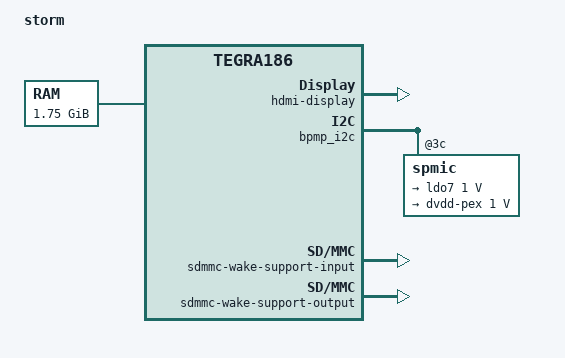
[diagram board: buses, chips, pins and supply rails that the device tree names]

#include <t18x-common-platforms/tegra186-quill-common-p3489-1000-a00.dtsi>
//#include <t18x-common-platforms/tegra186-quill-power-tree-p3489-1000-a00-00.dtsi>
#include <t18x-common-platforms/tegra186-tx2i-cti-power-tree.dtsi>
//#include <t18x-common-platforms/tegra186-quill-camera-modules.dtsi>
#include <t18x-common-modules/tegra186-display-e3320-1000-a00.dtsi>

/* comms dtsi file should be included after gpio dtsi file */
//#include <t18x-common-plugin-manager/tegra186-quill-p3489-1000-a00-plugin-manager.dtsi>
#include <t18x-common-plugin-manager/tegra186-tx2i-cti-plugin-manager.dtsi>
//#include <t18x-common-modules/tegra186-super-module-e2614-p2597-1000-a00.dtsi>
#include <t18x-common-plugin-manager/tegra186-quill-display-plugin-manager.dtsi>
#include <t18x-common-prod/tegra186-priv-quill-p3489-1000-a00-prod.dtsi>
//#include <t18x-common-plugin-manager/tegra186-quill-camera-plugin-manager.dtsi>
#include "cti_common/tegra186-tx2-cti-usb-pcie-base.dtsi"

/ {
	model = "storm";
	compatible = "nvidia,storm", "nvidia,p2597-0000+p3489-0000", "nvidia,tegra186";
	use_case_model = "ucm1";
    nvidia,dtsfilename = __FILE__;
    nvidia,dtbbuildtime = __DATE__, __TIME__;

	nvidia,boardids = "3489:0000:A0";
	nvidia,proc-boardid = "3489:0000:A0";
	nvidia,fastboot-usb-vid = <0x0955>;
	nvidia,fastboot-usb-pid = <0xee16>;

	chosen {
		board-has-eeprom;
		bootargs ="console=ttyS0,115200 androidboot.presilicon=true firmware_class.path=/etc/firmware";
		stdout-path = &uarta;
		nvidia,tegra-joint_xpu_rail;
	};

	firmware {
		android {
			compatible = "android,firmware";
			hardware = "quill";
		};
	};

	memory@80000000 {
		device_type = "memory";
		reg = <0x0 0x80000000 0x0 0x70000000>;
	};
	
    i2c@3160000 {
        gpio@74{
            status = "disabled";
            /delete-node/ touch-rails;
        };

        gpio@77{
            status = "disabled";
            /delete-node/ lcd-bias-rails;
        };

		lp8557-backlight-s-wuxga-8-0@2c {
			status = "disabled";
		};
	};

	i2c@c240000 {
		clock-frequency = <400000>;
	};

	cpus {
		status = "disabled";
	};

   pwm_fan_shared_data: pfsd
   {
        tach_gpio = <&tegra_main_gpio TEGRA_MAIN_GPIO(X, 4) GPIO_ACTIVE_LOW>;
   };

	host1x {
		disp_imp_table {
			num_settings = <7>;

			disp_imp_settings_6 {
				/* Calculated with 4 wins on one 1080p head */

				/* Global settings */
				nvidia,total_disp_bw_with_catchup = <0 2787800>;
				nvidia,total_disp_bw_without_catchup = <0 2534400>;
				nvidia,disp_emc_floor = <0 102000000>;
				nvidia,disp_min_hubclk = <0 49070000>;
				nvidia,total_win_fetch_slots = /bits/ 16 <1>;
				nvidia,total_cursor_fetch_slots = /bits/ 16 <1>;

				/* Window settings */
				nvidia,imp_win_mapping = /bits/ 8 <0 1 2 3 4 5>;
				nvidia,win_fetch_meter_slots = /bits/ 16 <1 1 1 1 1 1>;
				nvidia,win_dvfs_watermark_values = <0 0 0 0 0 0 0 0 0 0 0 0>;
				nvidia,win_pipe_meter_values = <0 0 0 0 0 0>;
				nvidia,win_mempool_buffer_entries = <0 817 0 817 0 817 0 817 0 817 0 817>;
				nvidia,win_thread_groups = /bits/ 8 <0 1 2 3 4 5>;

				/* Cursor settings */
				nvidia,imp_head_mapping = /bits/ 8 <0 1 2>;
				nvidia,cursor_fetch_meter_slots = /bits/ 16 <1 1 1>;
				nvidia,cursor_dvfs_watermark_values = <0 0 0 0 0 0>;
				nvidia,cursor_pipe_meter_values = <0 0 0>;
				nvidia,cursor_mempool_buffer_entries = <0 16 0 16 0 16>;
			};
		};

		sor {
			status = "disabled";
			dp-display {
				status = "disabled";
			};
			hdmi-display {
				status = "disabled";
			};

			panel-s-edp-uhdtv-15-6 {
				smartdimmer {
					status = "disabled";
				};
			};
		};

		dpaux@155c0000 {
			status = "disabled";
		};

		sor1 {
			status = "okay";
			hdmi-display {
				status = "okay";
			};
			dp-display {
				status = "disabled";
			};
		};

		nvdisplay@15200000 {
			status = "disabled";
		};

		nvdisplay@15220000 {
			status = "disabled";
		};
	};

        mttcan@c310000 {
                status = "disabled";
                gpio_can_stb = <&tegra_aon_gpio TEGRA_AON_GPIO(AA, 0) GPIO_ACTIVE_HIGH>;
                gpio_can_en = <&tegra_aon_gpio TEGRA_AON_GPIO(AA, 1) GPIO_ACTIVE_HIGH>;
        };

        mttcan@c320000 {
                status = "disabled";
                gpio_can_stb = <&tegra_aon_gpio TEGRA_AON_GPIO(AA, 6) GPIO_ACTIVE_HIGH>;
                gpio_can_en = <&tegra_aon_gpio TEGRA_AON_GPIO(AA, 7) GPIO_ACTIVE_HIGH>;
        };

        mc {
               ecc_on_camera_fw;
        };

	rtcpu@b000000 {
		/delete-property/ autosuspend-delay-ms;
		nvidia,disable-runtime-pm;
	};
	bpmp_i2c {
		spmic@3c {
			regulators {
				ldo0 {
					maxim,active-fps-source = <MAX77620_FPS_SRC_NONE>;
				};
				ldo6 {
					maxim,active-fps-source = <MAX77620_FPS_SRC_NONE>;
					regulator-boot-on;
					regulator-always-on;
				};
				ldo7 {
					regulator-min-microvolt = <1000000>;
					regulator-max-microvolt = <1000000>;
				};
				ldo8 {
					regulator-name = "dvdd-pex";
					regulator-min-microvolt = <1000000>;
					regulator-max-microvolt = <1000000>;
				};
			};
			pinmux@0 {
				pin_gpio2 {
					status = "disabled";
				};
				pin_gpio3 {
					status = "disabled";
				};
				pin_gpio7 {
					drive-push-pull = <1>;
				};
			};
		};
	};
	
    ahci-sata@3507000 {
		gpios = <&spmic 7 0>;
	};

	gpio@2200000 {
		sdmmc-wake-support-input {
		        status = "okay";
		};
		sdmmc-wake-support-output {
		        status = "okay";
		};
	};

	fixed-regulators {
		regulator@1 {
			gpio = <&tegra_main_gpio TEGRA_MAIN_GPIO(P, 6) 0>;
		};
        regulator@2 {
            regulator-always-on;
            /delete-property/ gpio;
            /delete-property/ enable-active-high;
        };
        regulator@3 {
            regulator-always-on;
            /delete-property/ gpio;
        };
        regulator@6 {
            regulator-always-on;
            /delete-property/ gpio;
        };
        regulator@7 {
            regulator-always-on;
            /delete-property/ gpio;
        };
        regulator@8 {
            regulator-always-on;
            /delete-property/ gpio;
        };
        regulator@9 {
            regulator-always-on;
            /delete-property/ gpio;
        };
        regulator@10 {
            regulator-always-on;
            /delete-property/ gpio;
        };
        regulator@11 {
            regulator-always-on;
            /delete-property/ gpio;
        };
        regulator@12 {
            regulator-always-on;
            /delete-property/ gpio;
        };
        regulator@13 { //fixes PWM fan
            regulator-always-on;
            /delete-property/ gpio;
        };
        regulator@15 {
            regulator-always-on;
            /delete-property/ gpio;
        };
        regulator@17 {
            regulator-always-on;
            /delete-property/ gpio;
        };
        regulator@118 {
            regulator-always-on;
            /delete-property/ gpio;
        };
	};

	sdhci@3400000 {
		cd-gpios = <&tegra_main_gpio TEGRA_MAIN_GPIO(P, 5) 0>;
		nvidia,cd-wakeup-capable;
	};

	ina3221x@40 {
		channel@0 {
		        ti,shunt-resistor-mohm = <10>;
		};
		channel@1 {
		        ti,shunt-resistor-mohm = <10>;
		};
	};

	ina3221x@41 {
		 channel@0 {
			ti,shunt-resistor-mohm = <20>;
		 };
		 channel@1 {
			ti,shunt-resistor-mohm = <10>;
		 };
		 channel@2 {
			ti,rail-name = "VDD_SYS_DDR";
			ti,shunt-resistor-mohm = <10>;
		 };
	};

	tegra_udrm: tegra_udrm {
		compatible = "nvidia,tegra-udrm";
	};
	
	soctherm-oc-event {
		status = "okay";
	};

    can_clock: can_clock{
        compatible = "fixed-clock";
        #clock-cells = <0>;
        clock-frequency = <20000000>;
        clock-accuracy = <100>;
    };

};

#ifdef KERNEL_VERSION_4_9
#include "quill-platforms/tegra186-quill-kernel-4.9.dtsi"
#endif
